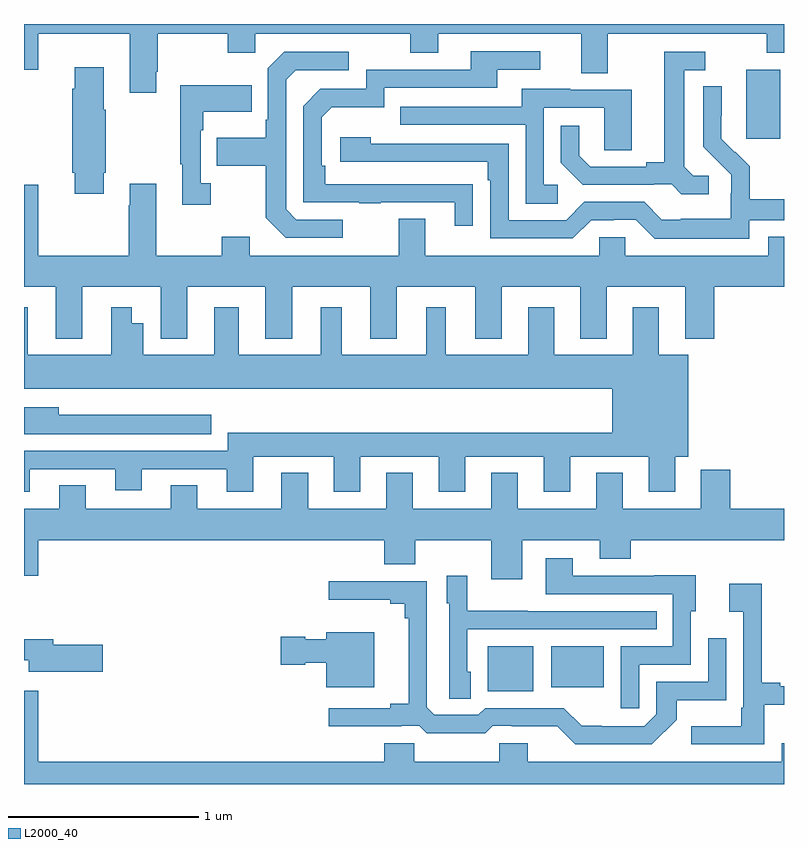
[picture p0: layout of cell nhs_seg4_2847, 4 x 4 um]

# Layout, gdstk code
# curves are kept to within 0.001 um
import gdstk
lib = gdstk.Library(unit=1e-6, precision=1e-09)
def R(c, l, rs):  # rectangles x0, y0, x1, y1
    for r in rs: c.add(gdstk.rectangle(r[:2], r[2:], *l))
def P(c, l, *ps):  # polygons
    for p in ps: c.add(gdstk.Polygon(p, *l))
L2000_40 = (2000, 40)

nhs_seg4_2847 = lib.new_cell('nhs_seg4_2847')
R(nhs_seg4_2847, L2000_40, [(263.441,765.389,263.68,765.625), (263.774,765.41,264.052,765.625), (264.8,768.297,264.979,768.658)])
P(nhs_seg4_2847, L2000_40, [(263.032,768.749),(263.179,768.749),(263.179,768.848),(263.933,768.848),(263.933,768.64),(264.073,768.64),(264.073,768.848),(264.91,768.848),(264.91,768.749),(265,768.749),(265,768.9),(261,768.9),(261,768.66),(261.076,768.66),(261.076,768.848),(261.557,768.848),(261.557,768.537),(261.697,768.537),(261.697,768.649),(261.705,768.649),(261.705,768.848),(262.072,768.848),(262.072,768.749),(262.218,768.749),(262.218,768.848),(263.032,768.848)],
  [(263.363,768.056),(262.586,768.057),(262.586,768.154),(262.566,768.154),(262.566,768.408),(262.619,768.461),(262.896,768.461),(262.896,768.564),(263.491,768.564),(263.491,768.66),(263.716,768.66),(263.716,768.756),(263.351,768.756),(263.351,768.66),(262.8,768.66),(262.8,768.558),(262.56,768.558),(262.47,768.468),(262.47,767.961),(262.765,767.961),(262.765,767.956),(262.877,767.956),(262.877,767.961),(263.267,767.961),(263.267,767.838),(263.363,767.838)],
  [(264.604,768.102),(264.522,768.102),(264.475,768.149),(264.475,768.657),(264.586,768.657),(264.586,768.753),(264.371,768.753),(264.371,768.173),(264.275,768.173),(264.275,768.15),(263.98,768.15),(263.923,768.207),(263.923,768.364),(263.826,768.364),(263.826,768.17),(263.942,768.054),(264.314,768.054),(264.314,768.057),(264.408,768.057),(264.46,768.005),(264.604,768.005)],
  [(262.678,767.871),(262.434,767.871),(262.38,767.925),(262.38,768.606),(262.431,768.657),(262.708,768.657),(262.708,768.753),(262.371,768.753),(262.284,768.666),(262.284,768.397),(262.272,768.397),(262.272,768.301),(262.015,768.301),(262.015,768.154),(262.272,768.154),(262.272,767.881),(262.377,767.775),(262.678,767.775)],
  [(261.421,768.118),(261.429,768.118),(261.429,768.449),(261.421,768.449),(261.421,768.673),(261.266,768.673),(261.266,768.56),(261.254,768.56),(261.254,768.118),(261.266,768.118),(261.266,768.006),(261.421,768.006)],
  [(261.982,768.062),(261.93,768.062),(261.93,768.341),(261.943,768.341),(261.943,768.437),(262.199,768.437),(262.199,768.577),(261.822,768.577),(261.822,768.161),(261.833,768.161),(261.833,767.949),(261.982,767.949)],
  [(264.816,767.868),(265,767.868),(265,767.977),(264.821,767.977),(264.821,768.151),(264.744,768.228),(264.741,768.225),(264.671,768.296),(264.672,768.572),(264.576,768.572),(264.576,768.254),(264.722,768.106),(264.722,768.009),(264.72,768.009),(264.72,767.875),(264.457,767.875),(264.457,767.871),(264.357,767.871),(264.264,767.964),(263.949,767.964),(263.853,767.868),(263.55,767.868),(263.55,768.27),(262.826,768.27),(262.826,768.304),(262.665,768.304),(262.665,768.174),(263.441,768.174),(263.441,768.077),(263.454,768.077),(263.454,767.772),(263.889,767.772),(263.985,767.868),(264.104,767.868),(264.104,767.871),(264.219,767.871),(264.319,767.771),(264.816,767.771)],
  [(263.809,768.054),(263.736,768.054),(263.736,768.459),(264.054,768.459),(264.054,768.235),(264.199,768.235),(264.199,768.555),(263.875,768.555),(263.875,768.559),(263.621,768.559),(263.621,768.465),(262.981,768.465),(262.981,768.369),(263.64,768.369),(263.64,767.953),(263.809,767.953)],
  [(261.307,767.516),(261.719,767.516),(261.719,767.243),(261.859,767.243),(261.859,767.516),(262.271,767.516),(262.271,767.243),(262.411,767.243),(262.411,767.516),(262.823,767.516),(262.823,767.243),(262.963,767.243),(262.963,767.516),(263.375,767.516),(263.375,767.243),(263.515,767.243),(263.515,767.516),(263.927,767.516),(263.927,767.243),(264.067,767.243),(264.067,767.516),(264.479,767.516),(264.479,767.243),(264.632,767.243),(264.632,767.516),(265,767.516),(265,767.779),(264.917,767.779),(264.917,767.68),(264.165,767.68),(264.165,767.778),(264.027,767.778),(264.027,767.68),(263.113,767.68),(263.113,767.875),(262.973,767.875),(262.973,767.68),(262.189,767.68),(262.189,767.779),(262.041,767.779),(262.041,767.68),(261.697,767.68),(261.697,768.058),(261.557,768.058),(261.557,767.945),(261.55,767.945),(261.55,767.68),(261.076,767.68),(261.076,768.055),(261,768.055),(261,767.516),(261.167,767.516),(261.167,767.243),(261.307,767.243)],
  [(261.031,766.557),(261.479,766.557),(261.479,766.445),(261.619,766.445),(261.619,766.557),(262.067,766.557),(262.067,766.437),(262.207,766.437),(262.207,766.622),(262.631,766.622),(262.631,766.437),(262.771,766.437),(262.771,766.622),(263.183,766.622),(263.183,766.437),(263.323,766.437),(263.323,766.622),(263.735,766.622),(263.735,766.437),(263.875,766.437),(263.875,766.622),(264.287,766.622),(264.287,766.437),(264.427,766.437),(264.427,766.622),(264.496,766.622),(264.496,767.158),(264.34,767.158),(264.34,767.41),(264.203,767.41),(264.203,767.158),(263.791,767.158),(263.791,767.41),(263.654,767.41),(263.654,767.158),(263.221,767.158),(263.221,767.41),(263.117,767.41),(263.117,767.158),(262.672,767.158),(262.672,767.41),(262.562,767.41),(262.562,767.158),(262.129,767.158),(262.129,767.41),(262.001,767.41),(262.001,767.158),(261.628,767.158),(261.628,767.326),(261.568,767.326),(261.568,767.41),(261.458,767.41),(261.458,767.158),(261.019,767.158),(261.019,767.41),(261,767.41),(261,766.979),(264.095,766.979),(264.095,766.75),(262.073,766.75),(262.073,766.653),(261,766.653),(261,766.437),(261.031,766.437)],
  [(261.985,766.843),(261.184,766.843),(261.184,766.882),(261,766.882),(261,766.742),(261.985,766.742)],
  [(263.623,766.184),(264.029,766.184),(264.029,766.085),(264.193,766.085),(264.193,766.184),(265,766.184),(265,766.348),(264.716,766.348),(264.716,766.555),(264.563,766.555),(264.563,766.348),(264.151,766.348),(264.151,766.537),(264.011,766.537),(264.011,766.348),(263.599,766.348),(263.599,766.537),(263.459,766.537),(263.459,766.348),(263.047,766.348),(263.047,766.537),(262.907,766.537),(262.907,766.348),(262.495,766.348),(262.495,766.537),(262.355,766.537),(262.355,766.348),(261.913,766.348),(261.913,766.472),(261.773,766.472),(261.773,766.348),(261.325,766.348),(261.325,766.472),(261.185,766.472),(261.185,766.348),(261,766.348),(261,765.996),(261.076,765.996),(261.076,766.184),(262.895,766.184),(262.895,766.056),(263.059,766.056),(263.059,766.184),(263.459,766.184),(263.459,765.978),(263.623,765.978)],
  [(264.237,765.528),(264.51,765.528),(264.51,765.81),(264.535,765.81),(264.535,765.998),(264.317,765.998),(264.317,765.996),(263.887,765.996),(263.887,766.087),(263.747,766.087),(263.747,765.9),(264.414,765.9),(264.414,765.624),(264.141,765.624),(264.141,765.3),(264.237,765.3)],
  [(263.35,765.492),(263.334,765.492),(263.334,765.714),(264.329,765.714),(264.329,765.81),(263.651,765.81),(263.651,765.811),(263.334,765.811),(263.334,765.997),(263.225,765.997),(263.225,765.852),(263.238,765.852),(263.238,765.349),(263.35,765.349)],
  [(264.435,765.239),(264.435,765.341),(264.696,765.341),(264.696,765.667),(264.6,765.667),(264.6,765.438),(264.327,765.438),(264.327,765.267),(264.264,765.204),(264.04,765.204),(264.04,765.206),(263.936,765.206),(263.841,765.3),(263.427,765.3),(263.391,765.264),(263.16,765.264),(263.121,765.303),(263.121,765.966),(262.605,765.966),(262.605,765.869),(262.928,765.869),(262.928,765.85),(263.005,765.85),(263.005,765.773),(263.024,765.773),(263.024,765.323),(262.928,765.323),(262.928,765.3),(262.605,765.3),(262.605,765.203),(262.985,765.203),(262.985,765.207),(263.079,765.207),(263.119,765.168),(263.427,765.168),(263.466,765.207),(263.566,765.207),(263.566,765.203),(263.807,765.203),(263.901,765.108),(264.304,765.108)],
  [(264.895,765.317),(265,765.317),(265,765.414),(264.979,765.414),(264.979,765.433),(264.883,765.433),(264.883,765.955),(264.711,765.955),(264.711,765.806),(264.786,765.806),(264.786,765.301),(264.774,765.301),(264.774,765.205),(264.513,765.205),(264.513,765.108),(264.895,765.108)],
  [(262.843,765.7),(262.592,765.7),(262.592,765.661),(262.479,765.661),(262.479,765.674),(262.35,765.674),(262.35,765.527),(262.479,765.527),(262.479,765.539),(262.592,765.539),(262.592,765.41),(262.843,765.41)],
  [(261.415,765.632),(261.154,765.632),(261.154,765.661),(261,765.661),(261,765.551),(261.026,765.551),(261.026,765.49),(261.415,765.49)],
  [(265,765.115),(264.989,765.115),(264.989,765.016),(263.65,765.016),(263.65,765.114),(263.5,765.114),(263.5,765.016),(263.055,765.016),(263.055,765.114),(262.895,765.114),(262.895,765.016),(261.076,765.016),(261.076,765.391),(261,765.391),(261,764.9),(265,764.9)])

lib.write_gds('nhs_seg4_2847.gds')
